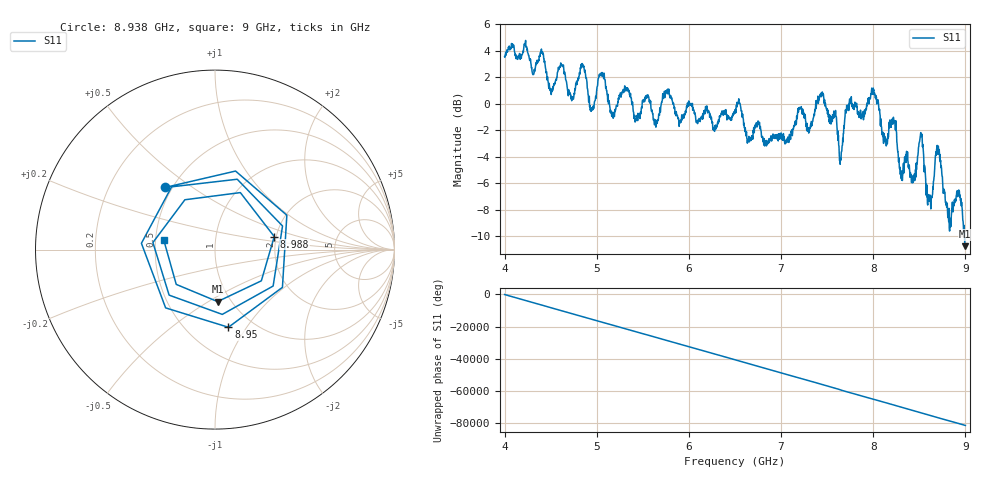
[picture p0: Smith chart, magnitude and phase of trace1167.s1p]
! Created with skrf 1.8.0 (http://scikit-rf.org).
# Hz S RI R 50.0
!freq ReS11 ImS11
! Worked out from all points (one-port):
!   1601 points, 4 GHz to 9 GHz, reference 50 ohm
!   lowest |S11| = -10.8 dB at 8.994 GHz (marker M1), VSWR 1.82, Z = 43.4 - j27.4 ohm
!   |S11| at or under -10 dB: 8.990435 GHz to end of sweep
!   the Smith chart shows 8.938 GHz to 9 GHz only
!   S11 on the Smith chart (normalised r, x): 8.938 GHz: 0.46, +0.39; 8.95 GHz: 0.77, -0.83; 8.988 GHz: 1.95, +0.32; 9 GHz: 0.55, +0.07
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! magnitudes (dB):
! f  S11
! 4 GHz  3.5
! 4.403 GHz  3.8
! 4.503 GHz  0.8
! 4.625 GHz  2.9
! 4.734 GHz  0.5
! 4.853 GHz  2.8
! 4.947 GHz  -0.4
! 5.044 GHz  2.2
! 5.169 GHz  -0.8
! 5.25 GHz  0.7
! 5.875 GHz  -0.9
! 6.5 GHz  -0.5
! 7.125 GHz  -2.2
! 7.441 GHz  0.7
! 7.65 GHz  -4.3
! 7.75 GHz  0.0
! 8.003 GHz  1.0
! 8.375 GHz  -4.3
! 8.438 GHz  -5.6
! 8.516 GHz  -2.2
! 8.606 GHz  -7.4
! 8.7 GHz  -3.4
! 8.822 GHz  -7.9
! 8.938 GHz  -7.0
! 8.95 GHz  -7.1
! 8.988 GHz  -9.4
! 8.994 GHz  -10.8
! 9 GHz  -10.7
